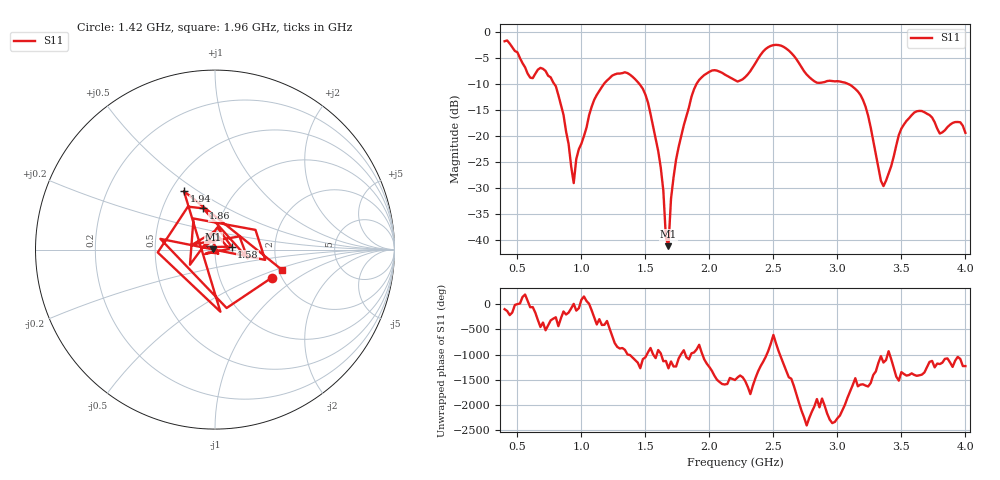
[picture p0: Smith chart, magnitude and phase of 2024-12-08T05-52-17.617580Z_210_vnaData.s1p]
!Created with skrf (http://scikit-rf.org).
# Hz S RI R 50.0
!freq ReS11 ImS11
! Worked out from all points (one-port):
!   181 points, 400 MHz to 4 GHz, reference 50 ohm
!   lowest |S11| = -41.3 dB at 1.68 GHz (marker M1), VSWR 1.02, Z = 49.2 + j0.194 ohm
!   |S11| at or under -10 dB: 789.1 MHz to 1.175 GHz (385.7 MHz wide, 39.3 % of centre); 1.454 GHz to 1.898 GHz (444.1 MHz wide, 26.5 % of centre); 3.087 GHz to end of sweep
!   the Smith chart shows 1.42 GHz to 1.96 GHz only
!   S11 on the Smith chart (normalised r, x): 1.42 GHz: 1.78, -0.64; 1.58 GHz: 1.20, +0.04; 1.86 GHz: 0.79, +0.39; 1.94 GHz: 0.58, +0.44; 1.96 GHz: 2.08, -0.55
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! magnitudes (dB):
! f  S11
! 400 MHz  -1.7
! 600 MHz  -8.7
! 720 MHz  -7.4
! 860 MHz  -15.9
! 940 MHz  -29.1
! 960 MHz  -24.4
! 1.1 GHz  -13.0
! 1.3 GHz  -7.9
! 1.42 GHz  -9.0
! 1.5 GHz  -12.0
! 1.58 GHz  -20.6
! 1.62 GHz  -26.1
! 1.66 GHz  -39.6
! 1.68 GHz  -41.3
! 1.7 GHz  -32.2
! 1.76 GHz  -22.1
! 1.86 GHz  -12.4
! 1.94 GHz  -8.7
! 1.96 GHz  -8.2
! 2.2 GHz  -9.2
! 2.48 GHz  -2.6
! 2.66 GHz  -4.5
! 2.84 GHz  -9.7
! 3.1 GHz  -10.1
! 3.22 GHz  -14.3
! 3.36 GHz  -29.7
! 3.56 GHz  -16.6
! 4 GHz  -19.4
